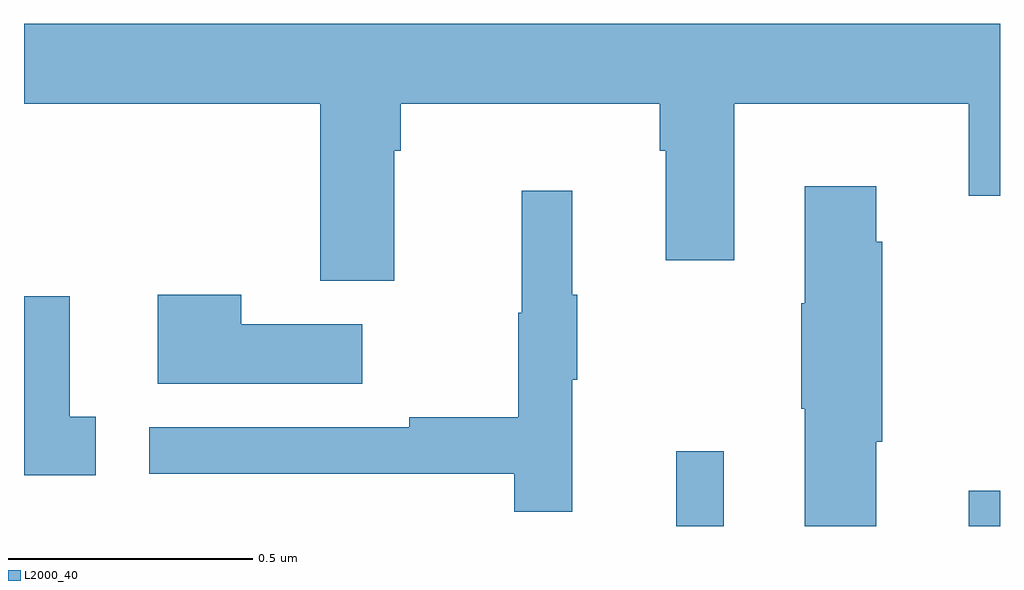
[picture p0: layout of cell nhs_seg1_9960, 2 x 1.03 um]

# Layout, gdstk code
import gdstk
lib = gdstk.Library(unit=1e-6, precision=1e-09)
def R(c, l, rs):  # rectangles x0, y0, x1, y1
    for r in rs: c.add(gdstk.rectangle(r[:2], r[2:], *l))
def P(c, l, *ps):  # polygons
    for p in ps: c.add(gdstk.Polygon(p, *l))
L2000_40 = (2000, 40)

nhs_seg1_9960 = lib.new_cell('nhs_seg1_9960')
R(nhs_seg1_9960, L2000_40, [(236.337,552.199,236.434,552.352), (236.936,552.199,237,552.271)])
P(nhs_seg1_9960, L2000_40, [(235.759,552.968),(235.772,552.968),(235.772,553.064),(236.303,553.064),(236.303,552.968),(236.315,552.968),(236.315,552.744),(236.455,552.744),(236.455,553.064),(236.936,553.064),(236.936,552.876),(237,552.876),(237,553.228),(235,553.228),(235,553.064),(235.607,553.064),(235.607,552.702),(235.759,552.702)],
  [(236.746,552.372),(236.759,552.372),(236.759,552.782),(236.746,552.782),(236.746,552.895),(236.6,552.895),(236.6,552.656),(236.593,552.656),(236.593,552.439),(236.6,552.439),(236.6,552.199),(236.746,552.199)],
  [(236.123,552.499),(236.134,552.499),(236.134,552.673),(236.123,552.673),(236.123,552.886),(236.02,552.886),(236.02,552.636),(236.013,552.636),(236.013,552.422),(235.789,552.422),(235.789,552.402),(235.257,552.402),(235.257,552.306),(236.005,552.306),(236.005,552.228),(236.123,552.228)],
  [(235.693,552.613),(235.445,552.613),(235.445,552.673),(235.274,552.673),(235.274,552.491),(235.693,552.491)],
  [(235.147,552.423),(235.094,552.423),(235.094,552.67),(235,552.67),(235,552.303),(235.147,552.303)])

lib.write_gds('nhs_seg1_9960.gds')
